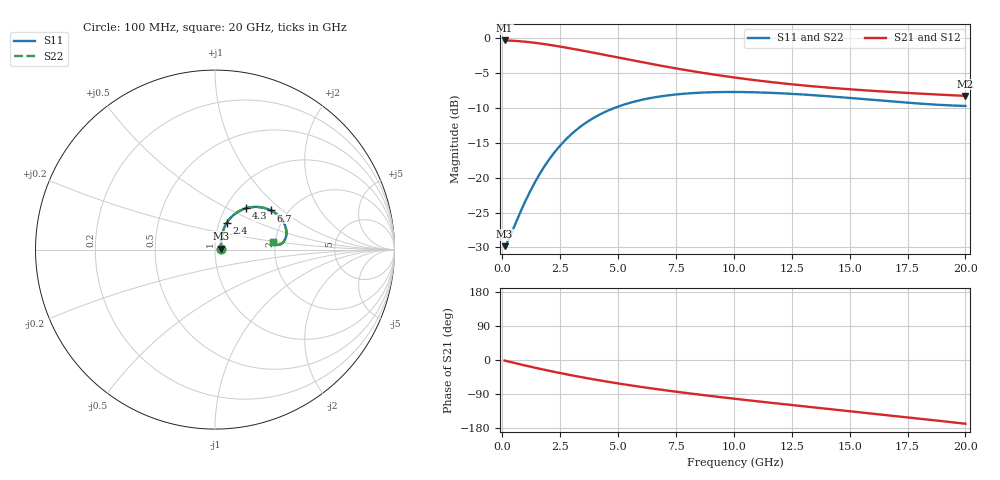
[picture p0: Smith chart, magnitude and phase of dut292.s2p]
! Touchstone file exported from HFSS 2024.1.0
!  File:  C:/UserFiles/LocalFiles/RDL_TSV_Batchsim/temp_RDL_TSV_292_1779467675.aedt
!  Generated:  12:48:48 AM May 23, 2026
!  Design:  RDL_TSV
!  Project:  temp_RDL_TSV_292_1779467675
!  Setup:  Setup1
!  Solution:  Sweep
! Variables:
!  dtsv = 8.63um
!  hbump = 3um
!  htsv = 58.4um
!  ldown = 625.31um
!  lrdl = 146.96um
!  p = 40
!  p1 = 48.46um
!  rhole = 10um
!  subl = 2463.77um
!  t = 450um
!  tdown = 2.03um
!  trdl = 4.89um
!  viad = 10um
!  wdown = 10.61um
!  wrdl = 26.51um
!  xbump = 18um
# GHz S MA R 50.000000
! Terminal data exported
! Port[1] = TM1_1_T1
! Port[2] = TM1_4_T1
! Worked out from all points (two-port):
!   200 points, 100 MHz to 20 GHz, reference 50 ohm
!   highest |S21| = -0.28 dB at 100 MHz (marker M1); lowest = -8.2 dB at 20 GHz (marker M2)
!   |S21| within 3 dB of the highest: start of sweep to 5.849 GHz
!   lowest |S11| = -29.8 dB at 100 MHz (marker M3), VSWR 1.07, Z = 53.3 + j0.635 ohm
!   |S11| at or under -10 dB: start of sweep to 4.825 GHz
!   |S22| runs from -29.8 to -7.7 dB; largest |S21 - S12| = 9.1e-15
!   S11 on the Smith chart (normalised r, x): 100 MHz: 1.07, +0.01; 2.4 GHz: 1.09, +0.33; 4.3 GHz: 1.25, +0.63; 6.7 GHz: 1.64, +0.84; 20 GHz: 1.95, +0.18
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0.1  0.03225 10.6  0.9681 -1.5  0.9681 -1.5  0.03225 10.6
! Gamma 0 0 0 0
! Port Impedance 50 0 50 0
0.3  0.03681 28.6  0.9659 -4.5  0.9659 -4.5  0.03682 28.6
0.7  0.05274 49.9  0.9573 -10.4  0.9573 -10.4  0.05275 49.9
1.1  0.0738 60.6  0.944 -16.1  0.944 -16.1  0.0738 60.6
1.4  0.09222 64.7  0.9315 -20.2  0.9315 -20.2  0.09221 64.7
1.9  0.1265 67.2  0.9073 -26.9  0.9073 -26.9  0.1264 67.1
2.4  0.163 66.3  0.8802 -33.3  0.8802 -33.3  0.1629 66.2
2.9  0.1995 63.6  0.8516 -39.3  0.8516 -39.3  0.1994 63.6
3.5  0.241 59.3  0.8164 -46.2  0.8164 -46.2  0.2409 59.2
4.3  0.2895 52.8  0.7696 -54.8  0.7696 -54.8  0.2892 52.8
5.4  0.341 44.1  0.7086 -65.6  0.7086 -65.6  0.3407 44.1
6.7  0.381 34.9  0.6445 -77.1  0.6445 -77.1  0.3806 34.9
6.8  0.3833 34.3  0.6399 -78.0  0.6399 -78.0  0.3829 34.2
7.6  0.3979 29.4  0.6059 -84.4  0.6059 -84.4  0.3974 29.4
8.4  0.4071 25.1  0.5756 -90.6  0.5756 -90.6  0.4065 25.0
10.1  0.4129 17.4  0.5225 -102.8  0.5225 -102.8  0.4123 17.4
11.7  0.4065 11.9  0.4845 -113.6  0.4845 -113.6  0.4059 11.9
13.4  0.392 7.7  0.4538 -124.7  0.4538 -124.7  0.3913 7.6
15  0.3742 5.3  0.4318 -135.0  0.4318 -135.0  0.3736 5.2
16.7  0.3544 4.3  0.4136 -146.1  0.4136 -146.1  0.3538 4.3
18.4  0.3374 5.2  0.399 -157.4  0.399 -157.4  0.3368 5.1
20  0.3277 7.4  0.3871 -168.2  0.3871 -168.2  0.3271 7.4
